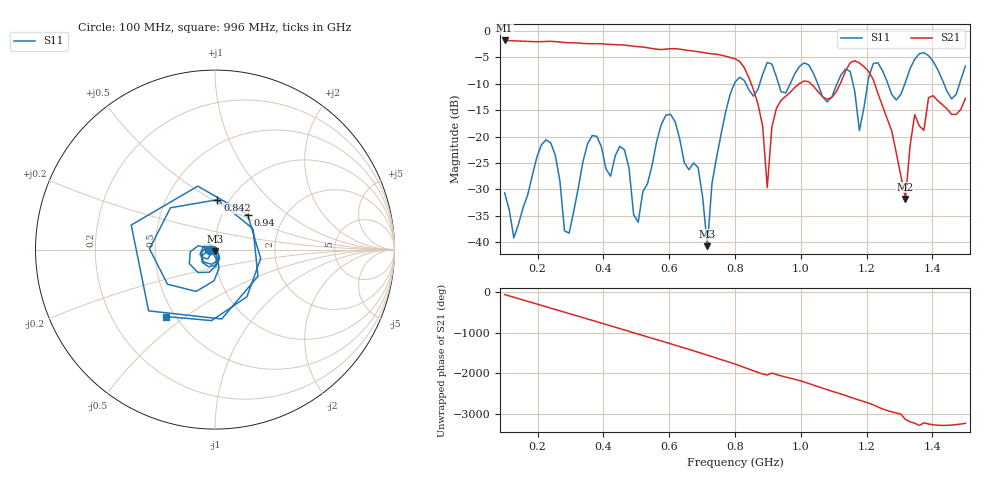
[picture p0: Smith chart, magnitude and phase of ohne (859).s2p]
! NanoVNA-App
! Date: 2025-09-25 14:27:29
! Start: 100MHz Stop: 1,5GHz Points: 101
! S-Parameter data: F S11 S21 S12 S22
# Hz S RI R 50
!  Frequency  S11_Real  S11_Imag  S21_Real  S21_Imag  S12_Real  S12_Imag  S22_Real  S22_Imag
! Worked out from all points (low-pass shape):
!   101 points, 100 MHz to 1.5 GHz, reference 50 ohm
!   highest |S21| = -1.79 dB at 100 MHz (marker M1); lowest = -31.8 dB at 1.318 GHz (marker M2)
!   |S21| within 3 dB of the highest: start of sweep to 772.3 MHz
!   lowest |S11| = -40.7 dB at 716 MHz (marker M3), VSWR 1.02, Z = 49.8 - j0.903 ohm
!   |S11| at or under -10 dB: start of sweep to 798 MHz; 833.1 MHz to 875 MHz (41.94 MHz wide, 4.91 % of centre); 1.051 GHz to 1.11 GHz (58.64 MHz wide, 5.43 % of centre) (the widest 3 of 7)
!   S12 and S22 are empty: the file has one direction only
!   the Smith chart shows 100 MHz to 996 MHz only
!   S11 on the Smith chart (normalised r, x): 100 MHz: 0.94, -0.01; 842 MHz: 0.88, +0.53; 940 MHz: 1.31, +0.55; 996 MHz: 0.45, -0.42
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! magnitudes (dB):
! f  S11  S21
! 100 MHz  -30.6  -1.8
! 128 MHz  -39.2  -1.9
! 226 MHz  -20.6  -2.0
! 296 MHz  -38.3  -2.2
! 338 MHz  -24.8  -2.4
! 464 MHz  -22.5  -2.7
! 506 MHz  -36.2  -3.0
! 576 MHz  -17.7  -3.5
! 688 MHz  -25.9  -3.9
! 716 MHz  -40.7  -4.2
! 800 MHz  -9.7  -5.3
! 842 MHz  -11.1  -8.8
! 898 MHz  -6.0  -29.7
! 940 MHz  -11.5  -13.1
! 996 MHz  -6.7  -10.0
! 1.038 GHz  -8.0  -10.4
! 1.178 GHz  -18.9  -6.1
! 1.22 GHz  -6.2  -9.2
! 1.276 GHz  -12.0  -18.9
! 1.318 GHz  -9.7  -31.8
! 1.346 GHz  -5.4  -15.9
! 1.5 GHz  -6.7  -12.8
